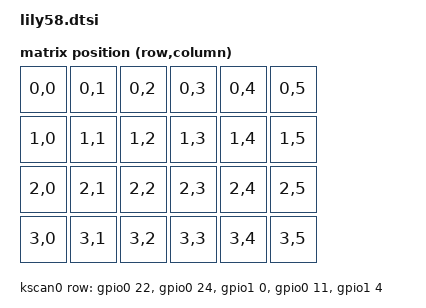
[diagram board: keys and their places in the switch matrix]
/*
 * Copyright (c) 2020 Pete Johanson
 *
 * SPDX-License-Identifier: MIT
 */

#include <dt-bindings/zmk/matrix_transform.h>

/ {
    chosen {
        //zephyr,display = &oled;
        zmk,kscan = &kscan0;
        zmk,matrix_transform
        //zmk,physical-layout = &kata0510_lily58_layout;
    };

    default_transform: keymap_transform_0 {
        compatible = "zmk,matrix-transform";
        columns = <8>;
        rows = <10>;
// | SW6  | SW5  | SW4  | SW3  | SW2  | SW1  |                 | SW1  | SW2  | SW3  | SW4  | SW5  | SW6  |
// | SW12 | SW11 | SW10 | SW9  | SW8  | SW7  |                 | SW7  | SW8  | SW9  | SW10 | SW11 | SW12 |
// | SW18 | SW17 | SW16 | SW15 | SW14 | SW13 |                 | SW13 | SW14 | SW15 | SW16 | SW17 | SW18 |
// | SW24 | SW23 | SW22 | SW21 | SW20 | SW19 | SW25 |   | SW25 | SW19 | SW20 | SW21 | SW22 | SW23 | SW24 |
//                      | SW29 | SW28 | SW27 | SW26 |   | SW26 | SW27 | SW28 | SW29 |
        map = <
        RC(0,0) RC(0,1) RC(0,2) RC(0,3) RC(0,4) RC(0,5) &none &none
        RC(1,0) RC(1,1) RC(1,2) RC(1,3) RC(1,4) RC(1,5) &none &none
        RC(2,0) RC(2,1) RC(2,2) RC(2,3) RC(2,4) RC(2,5) &none &none
        RC(3,0) RC(3,1) RC(3,2) RC(3,3) RC(3,4) RC(3,5) &none &none
        &none &none &none &none &none &none &none &none
        >;
    };

    kscan0: kscan {
        compatible = "zmk,kscan-gpio-matrix";
        wakeup-source;

        diode-direction = "col2row";
        row-gpios
            = <&gpio0 22 (GPIO_ACTIVE_HIGH | GPIO_PULL_DOWN)>
            , <&gpio0 24 (GPIO_ACTIVE_HIGH | GPIO_PULL_DOWN)>
            , <&gpio1 0 (GPIO_ACTIVE_HIGH | GPIO_PULL_DOWN)>
            , <&gpio0 11 (GPIO_ACTIVE_HIGH | GPIO_PULL_DOWN)>
            , <&gpio1 4 (GPIO_ACTIVE_HIGH | GPIO_PULL_DOWN)>
            ;

    };
};

